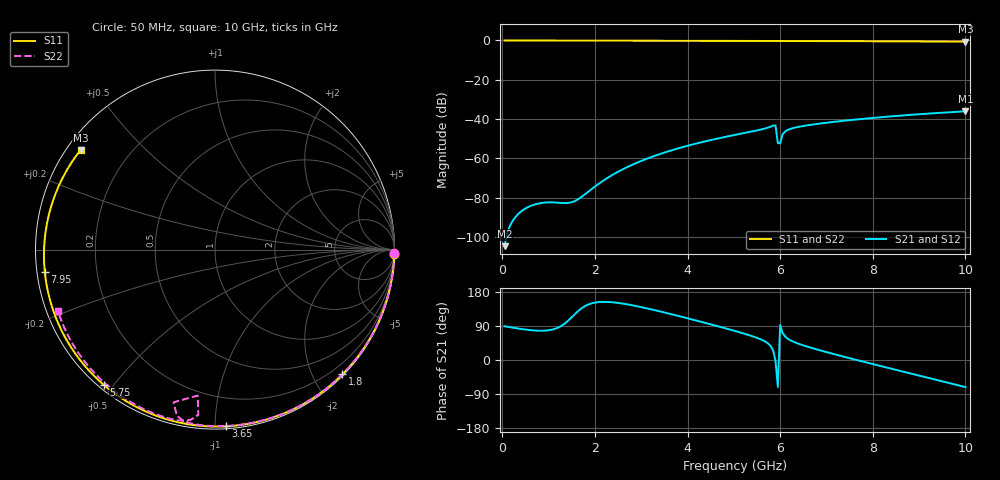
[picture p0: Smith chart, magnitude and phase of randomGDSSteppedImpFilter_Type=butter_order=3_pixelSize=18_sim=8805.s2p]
! freq	dB(S11)	phase(S11)	dB(S12)	phase(S12)
!  dB(S21)	phase(S21)	dB(S22)	phase(S22)
!S-par simulation data
#  GHz  S  DB  R 50
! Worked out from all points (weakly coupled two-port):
!   200 points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, 50 MHz to 10 GHz, reference 50 ohm
!   highest |S21| = -36.03 dB at 10 GHz (marker M1); lowest = -104.6 dB at 50 MHz (marker M2)
!   lowest |S11| = -0.6 dB at 10 GHz (marker M3), VSWR 28.44, Z = 1.95 + j16.5 ohm
!   |S11| at or under -10 dB: nowhere
!   |S22| runs from -1.7 to 0.0 dB; largest |S21 - S12| = 0
!   S11 on the Smith chart (normalised r, x): 50 MHz: 0, -90; 1.8 GHz: 0.02, -2.45; 3.65 GHz: 0.01, -1.07; 5.75 GHz: 0.01, -0.47; 7.95 GHz: 0.02, -0.07; 10 GHz: 0.04, +0.33
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0.05  -0.00 -1.3  -104.59 89.1  -104.59 89.1  -0.00 -0.9
0.85  -0.03 -21.3  -82.61 77.3  -82.61 77.3  -0.02 -15.5
1.65  -0.05 -40.8  -80.53 130.5  -80.53 130.5  -0.04 -29.9
1.75  -0.05 -43.2  -78.86 139.6  -78.86 139.6  -0.04 -31.7
1.8  -0.06 -44.4  -77.95 143.1  -77.95 143.1  -0.04 -32.6
2.5  -0.08 -60.8  -66.74 150.7  -66.74 150.7  -0.06 -44.8
3.4  -0.11 -81.0  -57.78 128.4  -57.78 128.4  -0.08 -60.1
3.65  -0.11 -86.4  -55.90 120.9  -55.90 120.9  -0.09 -64.3
4.35  -0.14 -101.2  -51.47 99.0  -51.47 99.0  -0.11 -75.7
5.05  -0.17 -115.4  -47.89 75.7  -47.89 75.7  -0.14 -86.9
5.75  -0.21 -129.3  -44.23 42.4  -44.23 42.4  -0.23 -99.4
5.85  -0.22 -131.3  -43.26 24.6  -43.26 24.6  -0.46 -103.0
5.9  -0.22 -132.3  -43.20 -2.1  -43.20 -2.1  -1.10 -105.2
5.95  -0.23 -133.3  -52.21 -71.0  -52.21 -71.0  -1.74 -96.8
6  -0.23 -134.2  -52.28 92.3  -52.28 92.3  -0.68 -95.8
6.05  -0.23 -135.2  -47.86 72.0  -47.86 72.0  -0.38 -98.0
6.15  -0.24 -137.2  -45.63 57.6  -45.63 57.6  -0.25 -101.0
6.7  -0.28 -147.9  -42.76 31.1  -42.76 31.1  -0.22 -110.6
7.95  -0.39 -172.5  -39.50 -9.2  -39.50 -9.2  -0.31 -129.0
8.35  -0.43 179.4  -38.68 -21.4  -38.68 -21.4  -0.35 -134.7
9.2  -0.52 161.5  -37.19 -47.1  -37.19 -47.1  -0.44 -147.0
10  -0.61 143.5  -36.03 -71.5  -36.03 -71.5  -0.54 -158.7
